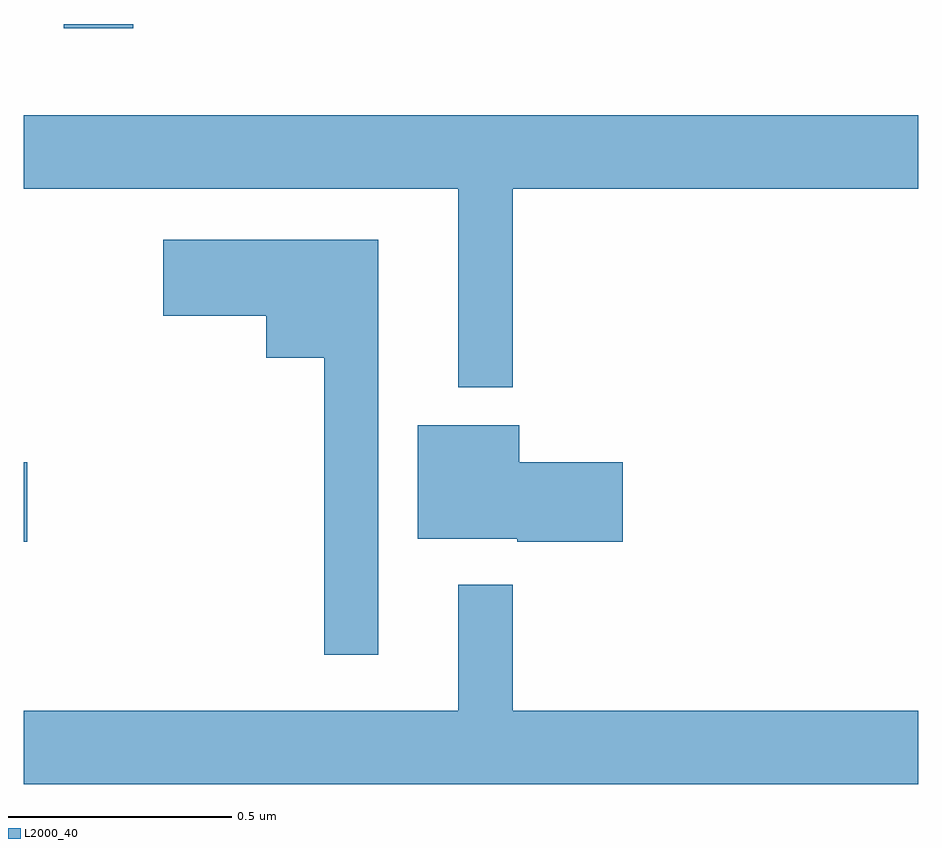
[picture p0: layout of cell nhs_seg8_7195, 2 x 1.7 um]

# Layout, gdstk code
import gdstk
lib = gdstk.Library(unit=1e-6, precision=1e-09)
def R(c, l, rs):  # rectangles x0, y0, x1, y1
    for r in rs: c.add(gdstk.rectangle(r[:2], r[2:], *l))
def P(c, l, *ps):  # polygons
    for p in ps: c.add(gdstk.Polygon(p, *l))
L2000_40 = (2000, 40)

nhs_seg8_7195 = lib.new_cell('nhs_seg8_7195')
R(nhs_seg8_7195, L2000_40, [(207,1083.742,207.007,1083.92), (207.089,1084.89,207.245,1084.9)])
P(nhs_seg8_7195, L2000_40, [(208.093,1084.532),(209,1084.532),(209,1084.696),(207,1084.696),(207,1084.532),(207.971,1084.532),(207.971,1084.088),(208.093,1084.088)],
  [(207.793,1084.417),(207.312,1084.417),(207.312,1084.247),(207.542,1084.247),(207.542,1084.154),(207.672,1084.154),(207.672,1083.489),(207.793,1083.489)],
  [(208.339,1083.92),(208.108,1083.92),(208.108,1084.003),(207.881,1084.003),(207.881,1083.749),(208.104,1083.749),(208.104,1083.742),(208.339,1083.742)],
  [(209,1083.364),(208.093,1083.364),(208.093,1083.646),(207.971,1083.646),(207.971,1083.364),(207,1083.364),(207,1083.2),(209,1083.2)])

lib.write_gds('nhs_seg8_7195.gds')
